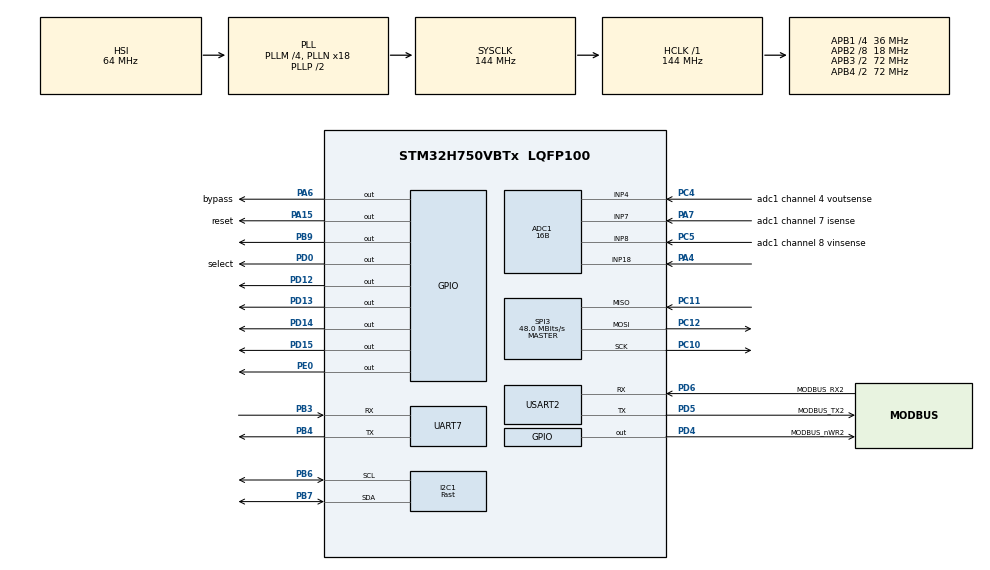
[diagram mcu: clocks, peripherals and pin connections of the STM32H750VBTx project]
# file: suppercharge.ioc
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ADC1.Channel-5\#ChannelRegularConversion=ADC_CHANNEL_7
ADC1.Channel-6\#ChannelRegularConversion=ADC_CHANNEL_4
ADC1.Channel-7\#ChannelRegularConversion=ADC_CHANNEL_8
ADC1.Channel-8\#ChannelRegularConversion=ADC_CHANNEL_18
ADC1.ConversionDataManagement=ADC_CONVERSIONDATA_DMA_ONESHOT
ADC1.DiscontinuousConvMode=DISABLE
ADC1.EOCSelection=ADC_EOC_SEQ_CONV
ADC1.NbrOfConversion=4
ADC1.NbrOfConversionFlag=1
ADC1.OffsetNumber-5\#ChannelRegularConversion=ADC_OFFSET_NONE
ADC1.OffsetNumber-6\#ChannelRegularConversion=ADC_OFFSET_NONE
ADC1.OffsetNumber-7\#ChannelRegularConversion=ADC_OFFSET_NONE
ADC1.OffsetNumber-8\#ChannelRegularConversion=ADC_OFFSET_NONE
ADC1.OffsetSignedSaturation-5\#ChannelRegularConversion=DISABLE
ADC1.OffsetSignedSaturation-8\#ChannelRegularConversion=DISABLE
ADC1.Rank-5\#ChannelRegularConversion=1
ADC1.Rank-6\#ChannelRegularConversion=2
ADC1.Rank-7\#ChannelRegularConversion=3
ADC1.Rank-8\#ChannelRegularConversion=4
ADC1.Resolution=ADC_RESOLUTION_16B
ADC1.SamplingTime-5\#ChannelRegularConversion=ADC_SAMPLETIME_1CYCLE_5
ADC1.SamplingTime-6\#ChannelRegularConversion=ADC_SAMPLETIME_1CYCLE_5
ADC1.SamplingTime-7\#ChannelRegularConversion=ADC_SAMPLETIME_1CYCLE_5
ADC1.SamplingTime-8\#ChannelRegularConversion=ADC_SAMPLETIME_1CYCLE_5
ADC1.master=1
CORTEX_M7.CPU_DCache=Disabled
CORTEX_M7.CPU_ICache=Disabled
CORTEX_M7.default_mode_Activation=1
Dma.ADC1.0.Direction=DMA_PERIPH_TO_MEMORY
Dma.ADC1.0.EventEnable=DISABLE
Dma.ADC1.0.FIFOMode=DMA_FIFOMODE_DISABLE
Dma.ADC1.0.Instance=DMA1_Stream0
Dma.ADC1.0.MemDataAlignment=DMA_MDATAALIGN_HALFWORD
Dma.ADC1.0.MemInc=DMA_MINC_ENABLE
Dma.ADC1.0.Mode=DMA_NORMAL
Dma.ADC1.0.PeriphDataAlignment=DMA_PDATAALIGN_HALFWORD
Dma.ADC1.0.PeriphInc=DMA_PINC_DISABLE
Dma.ADC1.0.Polarity=HAL_DMAMUX_REQ_GEN_RISING
Dma.ADC1.0.Priority=DMA_PRIORITY_LOW
Dma.ADC1.0.RequestNumber=1
Dma.ADC1.0.SignalID=NONE
Dma.ADC1.0.SyncEnable=DISABLE
Dma.ADC1.0.SyncPolarity=HAL_DMAMUX_SYNC_NO_EVENT
Dma.ADC1.0.SyncRequestNumber=1
Dma.ADC1.0.SyncSignalID=NONE
Dma.I2C1_RX.2.Direction=DMA_PERIPH_TO_MEMORY
Dma.I2C1_RX.2.EventEnable=DISABLE
Dma.I2C1_RX.2.FIFOMode=DMA_FIFOMODE_DISABLE
Dma.I2C1_RX.2.Instance=DMA1_Stream2
Dma.I2C1_RX.2.MemDataAlignment=DMA_MDATAALIGN_BYTE
Dma.I2C1_RX.2.MemInc=DMA_MINC_ENABLE
Dma.I2C1_RX.2.Mode=DMA_NORMAL
Dma.I2C1_RX.2.PeriphDataAlignment=DMA_PDATAALIGN_BYTE
Dma.I2C1_RX.2.PeriphInc=DMA_PINC_DISABLE
Dma.I2C1_RX.2.Polarity=HAL_DMAMUX_REQ_GEN_RISING
Dma.I2C1_RX.2.Priority=DMA_PRIORITY_LOW
Dma.I2C1_RX.2.RequestNumber=1
Dma.I2C1_RX.2.SignalID=NONE
Dma.I2C1_RX.2.SyncEnable=DISABLE
Dma.I2C1_RX.2.SyncPolarity=HAL_DMAMUX_SYNC_NO_EVENT
Dma.I2C1_RX.2.SyncRequestNumber=1
Dma.I2C1_RX.2.SyncSignalID=NONE
Dma.I2C1_TX.1.Direction=DMA_MEMORY_TO_PERIPH
Dma.I2C1_TX.1.EventEnable=DISABLE
Dma.I2C1_TX.1.FIFOMode=DMA_FIFOMODE_DISABLE
Dma.I2C1_TX.1.Instance=DMA1_Stream1
Dma.I2C1_TX.1.MemDataAlignment=DMA_MDATAALIGN_BYTE
Dma.I2C1_TX.1.MemInc=DMA_MINC_ENABLE
Dma.I2C1_TX.1.Mode=DMA_NORMAL
Dma.I2C1_TX.1.PeriphDataAlignment=DMA_PDATAALIGN_BYTE
Dma.I2C1_TX.1.PeriphInc=DMA_PINC_DISABLE
Dma.I2C1_TX.1.Polarity=HAL_DMAMUX_REQ_GEN_RISING
Dma.I2C1_TX.1.Priority=DMA_PRIORITY_LOW
Dma.I2C1_TX.1.RequestNumber=1
Dma.I2C1_TX.1.SignalID=NONE
Dma.I2C1_TX.1.SyncEnable=DISABLE
Dma.I2C1_TX.1.SyncPolarity=HAL_DMAMUX_SYNC_NO_EVENT
Dma.I2C1_TX.1.SyncRequestNumber=1
Dma.I2C1_TX.1.SyncSignalID=NONE
Dma.Request0=ADC1
Dma.Request1=I2C1_TX
Dma.Request2=I2C1_RX
I2C1.I2C_Speed_Mode=I2C_Fast
I2C1.Speed=100
I2C1.Timing=0x00305FFF
Mcu.Family=STM32H7
Mcu.Name=STM32H750VBTx
Mcu.Package=LQFP100
NVIC.DMA1_Stream0_IRQn=true\:0\:0\:false\:false\:true\:false\:true\:true
NVIC.DMA1_Stream1_IRQn=true\:0\:0\:false\:false\:true\:false\:true\:true
NVIC.DMA1_Stream2_IRQn=true\:0\:0\:false\:false\:true\:false\:true\:true
NVIC.I2C1_ER_IRQn=true\:0\:0\:false\:false\:true\:true\:true\:true
NVIC.I2C1_EV_IRQn=true\:0\:0\:false\:false\:true\:true\:true\:true
NVIC.PriorityGroup=NVIC_PRIORITYGROUP_4
NVIC.SPI3_IRQn=true\:0\:0\:false\:false\:true\:true\:true\:true
NVIC.TIM2_IRQn=true\:0\:0\:false\:false\:true\:true\:true\:true
NVIC.TIM4_IRQn=true\:0\:0\:false\:false\:true\:true\:true\:true
NVIC.USART2_IRQn=true\:0\:0\:false\:false\:true\:true\:true\:true
PA11.Signal=FDCAN1_RX
PA12.Signal=FDCAN1_TX
PA15\ (JTDI).GPIO_Label=reset
PA15\ (JTDI).Signal=GPIO_Output
PA4.Signal=ADCx_INP18
PA6.GPIO_Label=bypass
PA6.GPIO_ModeDefaultOutputPP=GPIO_MODE_OUTPUT_PP
PA6.GPIO_PuPd=GPIO_NOPULL
PA6.Signal=GPIO_Output
PA7.GPIO_Label=adc1 channel 7 isense
PA7.Signal=ADCx_INP7
PB3\ (JTDO/TRACESWO).Mode=Asynchronous
PB3\ (JTDO/TRACESWO).Signal=UART7_RX
PB4\ (NJTRST).Mode=Asynchronous
PB4\ (NJTRST).Signal=UART7_TX
PB6.GPIO_Pu=GPIO_PULLUP
PB6.Mode=I2C
PB6.Signal=I2C1_SCL
PB7.GPIO_Pu=GPIO_PULLUP
PB7.Mode=I2C
PB7.Signal=I2C1_SDA
PB9.Signal=GPIO_Output
PC10.Mode=Full_Duplex_Master
PC10.Signal=SPI3_SCK
PC11.Mode=Full_Duplex_Master
PC11.Signal=SPI3_MISO
PC12.Mode=Full_Duplex_Master
PC12.Signal=SPI3_MOSI
PC14-OSC32_IN\ (OSC32_IN).Mode=LSE-External-Oscillator
PC14-OSC32_IN\ (OSC32_IN).Signal=RCC_OSC32_IN
PC15-OSC32_OUT\ (OSC32_OUT).Mode=LSE-External-Oscillator
PC15-OSC32_OUT\ (OSC32_OUT).Signal=RCC_OSC32_OUT
PC4.GPIO_Label=adc1 channel 4 voutsense
PC4.Signal=ADCx_INP4
PC5.GPIO_Label=adc1 channel 8 vinsense
PC5.Signal=ADCx_INP8
PD0.GPIO_Label=select
PD0.Signal=GPIO_Output
PD12.Signal=GPIO_Output
PD13.Signal=GPIO_Output
PD14.Signal=GPIO_Output
PD15.Signal=GPIO_Output
PD4.GPIO_Label=MODBUS_nWR2
PD4.Signal=GPIO_Output
PD5.GPIO_Label=MODBUS_TX2
PD5.Mode=Asynchronous
PD5.Signal=USART2_TX
PD6.GPIO_Label=MODBUS_RX2
PD6.Mode=Asynchronous
PD6.Signal=USART2_RX
PE0.Signal=GPIO_Output
PH0-OSC_IN\ (PH0).Mode=HSE-External-Oscillator
PH0-OSC_IN\ (PH0).Signal=RCC_OSC_IN
PH1-OSC_OUT\ (PH1).Mode=HSE-External-Oscillator
PH1-OSC_OUT\ (PH1).Signal=RCC_OSC_OUT
ProjectManager.HeapSize=0x200
ProjectManager.StackSize=0x400
ProjectManager.TargetToolchain=STM32CubeIDE
RCC.ADCFreq_Value=80000000
RCC.APB1Freq_Value=36000000
RCC.APB2Freq_Value=18000000
RCC.APB3Freq_Value=72000000
RCC.APB4Freq_Value=72000000
RCC.CortexFreq_Value=144000000
RCC.D1PPRE=RCC_APB3_DIV2
RCC.D2PPRE1=RCC_APB1_DIV4
RCC.D2PPRE2=RCC_APB2_DIV8
RCC.D3PPRE=RCC_APB4_DIV2
RCC.DIVM1=4
RCC.DIVM2=4
RCC.DIVN1=18
RCC.DIVN2=10
RCC.DIVQ1=3
RCC.HCLKFreq_Value=144000000
RCC.HSE_VALUE=8000000
RCC.PLL2FRACN=0
RCC.PLL3FRACN=0
RCC.PLLFRACN=0
RCC.SYSCLKFreq_VALUE=144000000
RCC.SYSCLKSource=RCC_SYSCLKSOURCE_PLLCLK
RCC.USBFreq_Value=96000000
SH.ADCx_INP18.0=ADC1_INP18,IN18-Single-Ended
SH.ADCx_INP4.0=ADC1_INP4,IN4-Single-Ended
SH.ADCx_INP7.0=ADC1_INP7,IN7-Single-Ended
SH.ADCx_INP8.0=ADC1_INP8,IN8-Single-Ended
SPI3.CalculateBaudRate=48.0 MBits/s
SPI3.Direction=SPI_DIRECTION_2LINES
SPI3.Mode=SPI_MODE_MASTER
SPI3.VirtualType=VM_MASTER
TIM1.CounterMode=TIM_COUNTERMODE_UP
TIM1.Period=65535
TIM1.Prescaler=1-1
TIM2.Period=1000-1
TIM2.Prescaler=7200-1
TIM4.Period=179-1
TIM4.Prescaler=1-1
USART2.VirtualMode-Asynchronous=VM_ASYNC
VP_MEMORYMAP_VS_MEMORYMAP.Mode=CurAppReg
VP_TIM1_VS_ClockSourceINT.Mode=Internal
VP_TIM2_VS_ClockSourceINT.Mode=Internal
VP_TIM4_VS_ClockSourceINT.Mode=Internal
board=custom

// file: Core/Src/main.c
/* USER CODE BEGIN Header */
/**
  ******************************************************************************
  * @file           : main.c
  * @brief          : Main program body
  ******************************************************************************
  * @attention
  *
  * Copyright (c) 2025 STMicroelectronics.
  * All rights reserved.
  *
  * This software is licensed under terms that can be found in the LICENSE file
  * in the root directory of this software component.
  * If no LICENSE file comes with this software, it is provided AS-IS.
  *
  ******************************************************************************
  */
/* USER CODE END Header */
#include "main.h"

/* USER CODE BEGIN Includes */
//#include "modbus.h"
//#include "modbus_crc.h"
//#include "socket.h"
//#include "w5500.h"
//#include "wizchip_conf.h"
//#include "at24c08c.h"
//#include "app.h"
#include"timmer.h"
#include "adc.h"
#include "winform.h"
#include "staring.h"
#include "bypass.h"
#include "at24c08c.h"
uint16_t adc_value[4];
double isense,voutsense,vinsense,vcbsense;
uint8_t page_of_eeprom_to_write_isense = 0;
uint8_t data_write_test_eeprom = 0;
uint8_t data_read_test_eeprom;
uint8_t page_read_test_eeprom = 0;
uint8_t page_write_test_eeprom = 0;
/* USER CODE END Includes */

ADC_HandleTypeDef hadc1;
DMA_HandleTypeDef hdma_adc1;

I2C_HandleTypeDef hi2c1;
DMA_HandleTypeDef hdma_i2c1_tx;
DMA_HandleTypeDef hdma_i2c1_rx;

SPI_HandleTypeDef hspi3;

TIM_HandleTypeDef htim1;
TIM_HandleTypeDef htim2;
TIM_HandleTypeDef htim4;

UART_HandleTypeDef huart7;
UART_HandleTypeDef huart2;

void SystemClock_Config(void);
static void MPU_Config(void);
static void MX_GPIO_Init(void);
static void MX_DMA_Init(void);
static void MX_TIM4_Init(void);
static void MX_USART2_UART_Init(void);
static void MX_I2C1_Init(void);
static void MX_SPI3_Init(void);
static void MX_ADC1_Init(void);
static void MX_TIM1_Init(void);
static void MX_UART7_Init(void);
static void MX_TIM2_Init(void);

/* USER CODE BEGIN 0 */
//	void CS_Select(void)   { HAL_GPIO_WritePin(GPIOD, GPIO_PIN_0, GPIO_PIN_RESET); }
//	void CS_Deselect(void) { HAL_GPIO_WritePin(GPIOA, GPIO_PIN_15, GPIO_PIN_SET); }
//	// SPI read/write functions
//	uint8_t SPI_ReadByte() {
//	    uint8_t data;
//	    HAL_SPI_Receive(&hspi3, &data, 1, 1000);
//	    return data;
//	}
//
//	void SPI_WriteByte(uint8_t data) {
//	    HAL_SPI_Transmit(&hspi3, &data, 1, 1000);
//	}
//
//	#define SOCKET_NUM 0   // Use socket 0
//	#define PC_PORT    5656 // PC server port
//	uint8_t pc_ip[4] = {192, 168, 1, 5}; // PC's IP
//
//
//	void reset()
//	{
//	  HAL_GPIO_WritePin(GPIOA, GPIO_PIN_4, GPIO_PIN_RESET);
//	  HAL_Delay(10); // Reset pulse width > 2us
//	  HAL_GPIO_WritePin(GPIOA, GPIO_PIN_4, GPIO_PIN_SET);
//	  HAL_Delay(100); // Wait for W5500 to stabilize
//	}
/* USER CODE END 0 */

int main(void)
{

  /* USER CODE BEGIN 1 */
//	uint8_t data_write = 0xAB;
  /* USER CODE END 1 */

  /* MPU Configuration--------------------------------------------------------*/
  MPU_Config();

  /* MCU Configuration--------------------------------------------------------*/

  /* Reset of all peripherals, Initializes the Flash interface and the Systick. */
  HAL_Init();

  /* USER CODE BEGIN Init */
//   app_init();

  /* USER CODE END Init */

  /* Configure the system clock */
  SystemClock_Config();

  /* Initialize all configured peripherals */
  MX_GPIO_Init();
  MX_DMA_Init();
  MX_TIM4_Init();
  MX_USART2_UART_Init();
  MX_I2C1_Init();
  MX_SPI3_Init();
  MX_ADC1_Init();
  MX_TIM1_Init();
  MX_UART7_Init();
  MX_TIM2_Init();
  Control_Init();
  /* USER CODE BEGIN 2 */
//TIM4->CCR4 = 20;
//HAL_TIM_PWM_Start(&htim4, TIM_CHANNEL_4);
//TIM4->CCR3 = 80;
//HAL_TIM_PWM_Start(&htim4, TIM_CHANNEL_3);
//  HAL_TIM_Base_Start(&htim1);
//  HAL_GPIO_TogglePin(GPIOE, GPIO_PIN_0);
//  delay_1us();
//HAL_GPIO_TogglePin(GPIOE, GPIO_PIN_0);
//HAL_GPIO_WritePin(GPIOE, GPIO_PIN_0,1);
//  modbus_request_data(1,0x40000,3);
//HAL_GPIO_WritePin(GPIOD, GPIO_PIN_14,1);
//HAL_GPIO_WritePin(GPIOD, GPIO_PIN_13,1);
//HAL_GPIO_WritePin(GPIOD, GPIO_PIN_15,0);
//HAL_GPIO_WritePin(GPIOD, GPIO_PIN_12,0);
//  HAL_GPIO_WritePin(GPIOD, GPIO_PIN_14,1);
//  HAL_GPIO_WritePin(GPIOD, GPIO_PIN_13,1);
//  HAL_GPIO_WritePin(GPIOD, GPIO_PIN_15,1);
//  HAL_GPIO_WritePin(GPIOD, GPIO_PIN_12,1);

//mosfet(0.95);

//adc_get_value();
//HAL_GPIO_TogglePin(GPIOE, GPIO_PIN_0);
//HAL_GPIO_TogglePin(GPIOB, GPIO_PIN_9);
//HAL_Delay(1000);
//HAL_GPIO_WritePin(GPIOE, GPIO_PIN_0, 1);
//HAL_GPIO_WritePin(GPIOB, GPIO_PIN_9, 1);

//adc_get_value();
//double V_CB = vcbsense;
//double V_Bat = vinsense;
//double Vref = 24;  // Set your reference voltage
//double Ib = isense;
//
//// Control variables
//double D, uk_V, uk_Ib, I_SPb, Count, bf1, bf2, bf3;
//
//// Update control system
//Control_Update(0, 0, 24, 0, 0, &D, 0, &uk_V, &uk_Ib, 0, 0, 0, 0, 0, 0, 0);
//
// //Update PWM duty cycle
//mosfet(0.95);
//
// //Add delay or wait for timer interrupt
//delay_ns(500);  // Adjust based on your control frequency

//adc_get_value();
//HAL_GPIO_TogglePin(GPIOE, GPIO_PIN_0);
//HAL_GPIO_TogglePin(GPIOB, GPIO_PIN_9);
//HAL_Delay(1000);
//  mosfet(0.95);
//  enable_bypass();

  double V_CB;
  double V_Bat;
  double Vref;
  double Ib;
  double D = 0;
  		double uk_V, uk_Ib, I_SPb, Count, bf1, bf2, bf3;
  		HAL_TIM_Base_Start_IT(&htim2);
  /* USER CODE END 2 */

  /* Infinite loop */
  while (1)
  {
//	    	  HAL_GPIO_WritePin(GPIOB, GPIO_PIN_9,1);
	    	  adc_get_value();
	    	   V_CB = voutsense;
	    	   V_Bat = vinsense;
	    	  Vref = 24;  // Set your reference voltage
	    	   Ib = isense;

	    	  // Control variables

	    	  // Update control system
	    	  Control_Update(V_CB, V_Bat, Vref, 0, 0, &D, 0, &uk_V, &uk_Ib, 0, 0, 0, 0, 0, 0, 0);

	    	   //Update PWM duty cycle
	    	  mosfet(D);

	    	   //Add delay or wait for timer interrupt
	    	  delay_ns(500);  // Adjust based on your control frequency

//	  	  data_read_test_eeprom = EEPROM_ReadByte(page_read_test_eeprom, 0);
//	  	  send_data_to_winform(data_read_test_eeprom, 0, 0, 0);
//	  	  page_read_test_eeprom++;
//	  	  HAL_Delay(1000);
  }
}

void SystemClock_Config(void)
{
  RCC_OscInitTypeDef RCC_OscInitStruct = {0};
  RCC_ClkInitTypeDef RCC_ClkInitStruct = {0};

  /** Supply configuration update enable
  */
  HAL_PWREx_ConfigSupply(PWR_LDO_SUPPLY);

  /** Configure the main internal regulator output voltage
  */
  __HAL_PWR_VOLTAGESCALING_CONFIG(PWR_REGULATOR_VOLTAGE_SCALE3);

  while(!__HAL_PWR_GET_FLAG(PWR_FLAG_VOSRDY)) {}

  /** Initializes the RCC Oscillators according to the specified parameters
  * in the RCC_OscInitTypeDef structure.
  */
  RCC_OscInitStruct.OscillatorType = RCC_OSCILLATORTYPE_HSI;
  RCC_OscInitStruct.HSIState = RCC_HSI_DIV1;
  RCC_OscInitStruct.HSICalibrationValue = RCC_HSICALIBRATION_DEFAULT;
  RCC_OscInitStruct.PLL.PLLState = RCC_PLL_ON;
  RCC_OscInitStruct.PLL.PLLSource = RCC_PLLSOURCE_HSI;
  RCC_OscInitStruct.PLL.PLLM = 4;
  RCC_OscInitStruct.PLL.PLLN = 18;
  RCC_OscInitStruct.PLL.PLLP = 2;
  RCC_OscInitStruct.PLL.PLLQ = 3;
  RCC_OscInitStruct.PLL.PLLR = 2;
  RCC_OscInitStruct.PLL.PLLRGE = RCC_PLL1VCIRANGE_3;
  RCC_OscInitStruct.PLL.PLLVCOSEL = RCC_PLL1VCOWIDE;
  RCC_OscInitStruct.PLL.PLLFRACN = 0;
  if (HAL_RCC_OscConfig(&RCC_OscInitStruct) != HAL_OK)
  {
    Error_Handler();
  }

  /** Initializes the CPU, AHB and APB buses clocks
  */
  RCC_ClkInitStruct.ClockType = RCC_CLOCKTYPE_HCLK|RCC_CLOCKTYPE_SYSCLK
                              |RCC_CLOCKTYPE_PCLK1|RCC_CLOCKTYPE_PCLK2
                              |RCC_CLOCKTYPE_D3PCLK1|RCC_CLOCKTYPE_D1PCLK1;
  RCC_ClkInitStruct.SYSCLKSource = RCC_SYSCLKSOURCE_PLLCLK;
  RCC_ClkInitStruct.SYSCLKDivider = RCC_SYSCLK_DIV1;
  RCC_ClkInitStruct.AHBCLKDivider = RCC_HCLK_DIV1;
  RCC_ClkInitStruct.APB3CLKDivider = RCC_APB3_DIV2;
  RCC_ClkInitStruct.APB1CLKDivider = RCC_APB1_DIV4;
  RCC_ClkInitStruct.APB2CLKDivider = RCC_APB2_DIV8;
  RCC_ClkInitStruct.APB4CLKDivider = RCC_APB4_DIV2;

  if (HAL_RCC_ClockConfig(&RCC_ClkInitStruct, FLASH_LATENCY_3) != HAL_OK)
  {
    Error_Handler();
  }
}

static void MX_ADC1_Init(void)
{

  ADC_MultiModeTypeDef multimode = {0};
  ADC_ChannelConfTypeDef sConfig = {0};

  /** Common config
  */
  hadc1.Instance = ADC1;
  hadc1.Init.ScanConvMode = ADC_SCAN_ENABLE;
  hadc1.Init.EOCSelection = ADC_EOC_SEQ_CONV;
  hadc1.Init.LowPowerAutoWait = DISABLE;
  hadc1.Init.ContinuousConvMode = DISABLE;
  hadc1.Init.NbrOfConversion = 4;
  hadc1.Init.DiscontinuousConvMode = DISABLE;
  hadc1.Init.ExternalTrigConv = ADC_SOFTWARE_START;
  hadc1.Init.ExternalTrigConvEdge = ADC_EXTERNALTRIGCONVEDGE_NONE;
  hadc1.Init.ConversionDataManagement = ADC_CONVERSIONDATA_DMA_ONESHOT;
  hadc1.Init.Overrun = ADC_OVR_DATA_PRESERVED;
  hadc1.Init.LeftBitShift = ADC_LEFTBITSHIFT_NONE;
  hadc1.Init.OversamplingMode = DISABLE;
  hadc1.Init.Oversampling.Ratio = 1;
  if (HAL_ADC_Init(&hadc1) != HAL_OK)
  {
    Error_Handler();
  }
  hadc1.Init.ClockPrescaler = ADC_CLOCK_ASYNC_DIV2;
  hadc1.Init.Resolution = ADC_RESOLUTION_16B;
  if (HAL_ADC_Init(&hadc1) != HAL_OK)
  {
    Error_Handler();
  }

  /** Configure the ADC multi-mode
  */
  multimode.Mode = ADC_MODE_INDEPENDENT;
  if (HAL_ADCEx_MultiModeConfigChannel(&hadc1, &multimode) != HAL_OK)
  {
    Error_Handler();
  }

  /** Configure Regular Channel
  */
  sConfig.Channel = ADC_CHANNEL_7;
  sConfig.Rank = ADC_REGULAR_RANK_1;
  sConfig.SamplingTime = ADC_SAMPLETIME_1CYCLE_5;
  sConfig.SingleDiff = ADC_SINGLE_ENDED;
  sConfig.OffsetNumber = ADC_OFFSET_NONE;
  sConfig.Offset = 0;
  sConfig.OffsetSignedSaturation = DISABLE;
  if (HAL_ADC_ConfigChannel(&hadc1, &sConfig) != HAL_OK)
  {
    Error_Handler();
  }

  /** Configure Regular Channel
  */
  sConfig.Channel = ADC_CHANNEL_4;
  sConfig.Rank = ADC_REGULAR_RANK_2;
  if (HAL_ADC_ConfigChannel(&hadc1, &sConfig) != HAL_OK)
  {
    Error_Handler();
  }

  /** Configure Regular Channel
  */
  sConfig.Channel = ADC_CHANNEL_8;
  sConfig.Rank = ADC_REGULAR_RANK_3;
  if (HAL_ADC_ConfigChannel(&hadc1, &sConfig) != HAL_OK)
  {
    Error_Handler();
  }

  /** Configure Regular Channel
  */
  sConfig.Channel = ADC_CHANNEL_18;
  sConfig.Rank = ADC_REGULAR_RANK_4;
  if (HAL_ADC_ConfigChannel(&hadc1, &sConfig) != HAL_OK)
  {
    Error_Handler();
  }

}

static void MX_I2C1_Init(void)
{

  hi2c1.Instance = I2C1;
  hi2c1.Init.Timing = 0x00305FFF;
  hi2c1.Init.OwnAddress1 = 0;
  hi2c1.Init.AddressingMode = I2C_ADDRESSINGMODE_7BIT;
  hi2c1.Init.DualAddressMode = I2C_DUALADDRESS_DISABLE;
  hi2c1.Init.OwnAddress2 = 0;
  hi2c1.Init.OwnAddress2Masks = I2C_OA2_NOMASK;
  hi2c1.Init.GeneralCallMode = I2C_GENERALCALL_DISABLE;
  hi2c1.Init.NoStretchMode = I2C_NOSTRETCH_DISABLE;
  if (HAL_I2C_Init(&hi2c1) != HAL_OK)
  {
    Error_Handler();
  }

  /** Configure Analogue filter
  */
  if (HAL_I2CEx_ConfigAnalogFilter(&hi2c1, I2C_ANALOGFILTER_ENABLE) != HAL_OK)
  {
    Error_Handler();
  }

  /** Configure Digital filter
  */
  if (HAL_I2CEx_ConfigDigitalFilter(&hi2c1, 0) != HAL_OK)
  {
    Error_Handler();
  }

}

static void MX_SPI3_Init(void)
{

  /* SPI3 parameter configuration*/
  hspi3.Instance = SPI3;
  hspi3.Init.Mode = SPI_MODE_MASTER;
  hspi3.Init.Direction = SPI_DIRECTION_2LINES;
  hspi3.Init.DataSize = SPI_DATASIZE_4BIT;
  hspi3.Init.CLKPolarity = SPI_POLARITY_LOW;
  hspi3.Init.CLKPhase = SPI_PHASE_1EDGE;
  hspi3.Init.NSS = SPI_NSS_SOFT;
  hspi3.Init.BaudRatePrescaler = SPI_BAUDRATEPRESCALER_2;
  hspi3.Init.FirstBit = SPI_FIRSTBIT_MSB;
  hspi3.Init.TIMode = SPI_TIMODE_DISABLE;
  hspi3.Init.CRCCalculation = SPI_CRCCALCULATION_DISABLE;
  hspi3.Init.CRCPolynomial = 0x0;
  hspi3.Init.NSSPMode = SPI_NSS_PULSE_ENABLE;
  hspi3.Init.NSSPolarity = SPI_NSS_POLARITY_LOW;
  hspi3.Init.FifoThreshold = SPI_FIFO_THRESHOLD_01DATA;
  hspi3.Init.TxCRCInitializationPattern = SPI_CRC_INITIALIZATION_ALL_ZERO_PATTERN;
  hspi3.Init.RxCRCInitializationPattern = SPI_CRC_INITIALIZATION_ALL_ZERO_PATTERN;
  hspi3.Init.MasterSSIdleness = SPI_MASTER_SS_IDLENESS_00CYCLE;
  hspi3.Init.MasterInterDataIdleness = SPI_MASTER_INTERDATA_IDLENESS_00CYCLE;
  hspi3.Init.MasterReceiverAutoSusp = SPI_MASTER_RX_AUTOSUSP_DISABLE;
  hspi3.Init.MasterKeepIOState = SPI_MASTER_KEEP_IO_STATE_DISABLE;
  hspi3.Init.IOSwap = SPI_IO_SWAP_DISABLE;
  if (HAL_SPI_Init(&hspi3) != HAL_OK)
  {
    Error_Handler();
  }

}

static void MX_TIM1_Init(void)
{

  TIM_ClockConfigTypeDef sClockSourceConfig = {0};
  TIM_MasterConfigTypeDef sMasterConfig = {0};

  htim1.Instance = TIM1;
  htim1.Init.Prescaler = 1-1;
  htim1.Init.CounterMode = TIM_COUNTERMODE_UP;
  htim1.Init.Period = 65535;
  htim1.Init.ClockDivision = TIM_CLOCKDIVISION_DIV1;
  htim1.Init.RepetitionCounter = 0;
  htim1.Init.AutoReloadPreload = TIM_AUTORELOAD_PRELOAD_DISABLE;
  if (HAL_TIM_Base_Init(&htim1) != HAL_OK)
  {
    Error_Handler();
  }
  sClockSourceConfig.ClockSource = TIM_CLOCKSOURCE_INTERNAL;
  if (HAL_TIM_ConfigClockSource(&htim1, &sClockSourceConfig) != HAL_OK)
  {
    Error_Handler();
  }
  sMasterConfig.MasterOutputTrigger = TIM_TRGO_RESET;
  sMasterConfig.MasterOutputTrigger2 = TIM_TRGO2_RESET;
  sMasterConfig.MasterSlaveMode = TIM_MASTERSLAVEMODE_DISABLE;
  if (HAL_TIMEx_MasterConfigSynchronization(&htim1, &sMasterConfig) != HAL_OK)
  {
    Error_Handler();
  }

}

static void MX_TIM2_Init(void)
{

  TIM_ClockConfigTypeDef sClockSourceConfig = {0};
  TIM_MasterConfigTypeDef sMasterConfig = {0};

  htim2.Instance = TIM2;
  htim2.Init.Prescaler = 7200-1;
  htim2.Init.CounterMode = TIM_COUNTERMODE_UP;
  htim2.Init.Period = 1000-1;
  htim2.Init.ClockDivision = TIM_CLOCKDIVISION_DIV1;
  htim2.Init.AutoReloadPreload = TIM_AUTORELOAD_PRELOAD_DISABLE;
  if (HAL_TIM_Base_Init(&htim2) != HAL_OK)
  {
    Error_Handler();
  }
  sClockSourceConfig.ClockSource = TIM_CLOCKSOURCE_INTERNAL;
  if (HAL_TIM_ConfigClockSource(&htim2, &sClockSourceConfig) != HAL_OK)
  {
    Error_Handler();
  }
  sMasterConfig.MasterOutputTrigger = TIM_TRGO_RESET;
  sMasterConfig.MasterSlaveMode = TIM_MASTERSLAVEMODE_DISABLE;
  if (HAL_TIMEx_MasterConfigSynchronization(&htim2, &sMasterConfig) != HAL_OK)
  {
    Error_Handler();
  }

}

static void MX_TIM4_Init(void)
{

  TIM_ClockConfigTypeDef sClockSourceConfig = {0};
  TIM_MasterConfigTypeDef sMasterConfig = {0};

  htim4.Instance = TIM4;
  htim4.Init.Prescaler = 1-1;
  htim4.Init.CounterMode = TIM_COUNTERMODE_UP;
  htim4.Init.Period = 179-1;
  htim4.Init.ClockDivision = TIM_CLOCKDIVISION_DIV1;
  htim4.Init.AutoReloadPreload = TIM_AUTORELOAD_PRELOAD_DISABLE;
  if (HAL_TIM_Base_Init(&htim4) != HAL_OK)
  {
    Error_Handler();
  }
  sClockSourceConfig.ClockSource = TIM_CLOCKSOURCE_INTERNAL;
  if (HAL_TIM_ConfigClockSource(&htim4, &sClockSourceConfig) != HAL_OK)
  {
    Error_Handler();
  }
  sMasterConfig.MasterOutputTrigger = TIM_TRGO_RESET;
  sMasterConfig.MasterSlaveMode = TIM_MASTERSLAVEMODE_DISABLE;
  if (HAL_TIMEx_MasterConfigSynchronization(&htim4, &sMasterConfig) != HAL_OK)
  {
    Error_Handler();
  }

}

static void MX_UART7_Init(void)
{

  huart7.Instance = UART7;
  huart7.Init.BaudRate = 115200;
  huart7.Init.WordLength = UART_WORDLENGTH_8B;
  huart7.Init.StopBits = UART_STOPBITS_1;
  huart7.Init.Parity = UART_PARITY_NONE;
  huart7.Init.Mode = UART_MODE_TX_RX;
  huart7.Init.HwFlowCtl = UART_HWCONTROL_NONE;
  huart7.Init.OverSampling = UART_OVERSAMPLING_16;
  huart7.Init.OneBitSampling = UART_ONE_BIT_SAMPLE_DISABLE;
  huart7.Init.ClockPrescaler = UART_PRESCALER_DIV1;
  huart7.AdvancedInit.AdvFeatureInit = UART_ADVFEATURE_NO_INIT;
  if (HAL_UART_Init(&huart7) != HAL_OK)
  {
    Error_Handler();
  }
  if (HAL_UARTEx_SetTxFifoThreshold(&huart7, UART_TXFIFO_THRESHOLD_1_8) != HAL_OK)
  {
    Error_Handler();
  }
  if (HAL_UARTEx_SetRxFifoThreshold(&huart7, UART_RXFIFO_THRESHOLD_1_8) != HAL_OK)
  {
    Error_Handler();
  }
  if (HAL_UARTEx_DisableFifoMode(&huart7) != HAL_OK)
  {
    Error_Handler();
  }

}

static void MX_USART2_UART_Init(void)
{

  huart2.Instance = USART2;
  huart2.Init.BaudRate = 115200;
  huart2.Init.WordLength = UART_WORDLENGTH_8B;
  huart2.Init.StopBits = UART_STOPBITS_1;
  huart2.Init.Parity = UART_PARITY_NONE;
  huart2.Init.Mode = UART_MODE_TX_RX;
  huart2.Init.HwFlowCtl = UART_HWCONTROL_NONE;
  huart2.Init.OverSampling = UART_OVERSAMPLING_16;
  huart2.Init.OneBitSampling = UART_ONE_BIT_SAMPLE_DISABLE;
  huart2.Init.ClockPrescaler = UART_PRESCALER_DIV1;
  huart2.AdvancedInit.AdvFeatureInit = UART_ADVFEATURE_NO_INIT;
  if (HAL_UART_Init(&huart2) != HAL_OK)
  {
    Error_Handler();
  }
  if (HAL_UARTEx_SetTxFifoThreshold(&huart2, UART_TXFIFO_THRESHOLD_1_8) != HAL_OK)
  {
    Error_Handler();
  }
  if (HAL_UARTEx_SetRxFifoThreshold(&huart2, UART_RXFIFO_THRESHOLD_1_8) != HAL_OK)
  {
    Error_Handler();
  }
  if (HAL_UARTEx_DisableFifoMode(&huart2) != HAL_OK)
  {
    Error_Handler();
  }

}

static void MX_DMA_Init(void)
{

  /* DMA controller clock enable */
  __HAL_RCC_DMA1_CLK_ENABLE();

  /* DMA interrupt init */
  /* DMA1_Stream0_IRQn interrupt configuration */
  HAL_NVIC_SetPriority(DMA1_Stream0_IRQn, 0, 0);
  HAL_NVIC_EnableIRQ(DMA1_Stream0_IRQn);
  /* DMA1_Stream1_IRQn interrupt configuration */
  HAL_NVIC_SetPriority(DMA1_Stream1_IRQn, 0, 0);
  HAL_NVIC_EnableIRQ(DMA1_Stream1_IRQn);
  /* DMA1_Stream2_IRQn interrupt configuration */
  HAL_NVIC_SetPriority(DMA1_Stream2_IRQn, 0, 0);
  HAL_NVIC_EnableIRQ(DMA1_Stream2_IRQn);

}

static void MX_GPIO_Init(void)
{
  GPIO_InitTypeDef GPIO_InitStruct = {0};

  /* GPIO Ports Clock Enable */
  __HAL_RCC_GPIOC_CLK_ENABLE();
  __HAL_RCC_GPIOH_CLK_ENABLE();
  __HAL_RCC_GPIOA_CLK_ENABLE();
  __HAL_RCC_GPIOD_CLK_ENABLE();
  __HAL_RCC_GPIOB_CLK_ENABLE();
  __HAL_RCC_GPIOE_CLK_ENABLE();

  /*Configure GPIO pin Output Level */
  HAL_GPIO_WritePin(GPIOA, bypass_Pin|reset_Pin, GPIO_PIN_RESET);

  /*Configure GPIO pin Output Level */
  HAL_GPIO_WritePin(GPIOD, GPIO_PIN_12|GPIO_PIN_13|GPIO_PIN_14|GPIO_PIN_15
                          |select_Pin|MODBUS_nWR2_Pin, GPIO_PIN_RESET);

  /*Configure GPIO pin Output Level */
  HAL_GPIO_WritePin(GPIOB, GPIO_PIN_9, GPIO_PIN_RESET);

  /*Configure GPIO pin Output Level */
  HAL_GPIO_WritePin(GPIOE, GPIO_PIN_0, GPIO_PIN_RESET);

  /*Configure GPIO pins : bypass_Pin reset_Pin */
  GPIO_InitStruct.Pin = bypass_Pin|reset_Pin;
  GPIO_InitStruct.Mode = GPIO_MODE_OUTPUT_PP;
  GPIO_InitStruct.Pull = GPIO_NOPULL;
  GPIO_InitStruct.Speed = GPIO_SPEED_FREQ_LOW;
  HAL_GPIO_Init(GPIOA, &GPIO_InitStruct);

  /*Configure GPIO pins : PD12 PD13 PD14 PD15
                           select_Pin MODBUS_nWR2_Pin */
  GPIO_InitStruct.Pin = GPIO_PIN_12|GPIO_PIN_13|GPIO_PIN_14|GPIO_PIN_15
                          |select_Pin|MODBUS_nWR2_Pin;
  GPIO_InitStruct.Mode = GPIO_MODE_OUTPUT_PP;
  GPIO_InitStruct.Pull = GPIO_NOPULL;
  GPIO_InitStruct.Speed = GPIO_SPEED_FREQ_LOW;
  HAL_GPIO_Init(GPIOD, &GPIO_InitStruct);

  /*Configure GPIO pins : PA11 PA12 */
  GPIO_InitStruct.Pin = GPIO_PIN_11|GPIO_PIN_12;
  GPIO_InitStruct.Mode = GPIO_MODE_AF_PP;
  GPIO_InitStruct.Pull = GPIO_NOPULL;
  GPIO_InitStruct.Speed = GPIO_SPEED_FREQ_LOW;
  GPIO_InitStruct.Alternate = GPIO_AF9_FDCAN1;
  HAL_GPIO_Init(GPIOA, &GPIO_InitStruct);

  /*Configure GPIO pin : PB9 */
  GPIO_InitStruct.Pin = GPIO_PIN_9;
  GPIO_InitStruct.Mode = GPIO_MODE_OUTPUT_PP;
  GPIO_InitStruct.Pull = GPIO_NOPULL;
  GPIO_InitStruct.Speed = GPIO_SPEED_FREQ_LOW;
  HAL_GPIO_Init(GPIOB, &GPIO_InitStruct);

  /*Configure GPIO pin : PE0 */
  GPIO_InitStruct.Pin = GPIO_PIN_0;
  GPIO_InitStruct.Mode = GPIO_MODE_OUTPUT_PP;
  GPIO_InitStruct.Pull = GPIO_NOPULL;
  GPIO_InitStruct.Speed = GPIO_SPEED_FREQ_LOW;
  HAL_GPIO_Init(GPIOE, &GPIO_InitStruct);

}

 /* MPU Configuration */

void MPU_Config(void)
{
  MPU_Region_InitTypeDef MPU_InitStruct = {0};

  /* Disables the MPU */
  HAL_MPU_Disable();

  /** Initializes and configures the Region and the memory to be protected
  */
  MPU_InitStruct.Enable = MPU_REGION_ENABLE;
  MPU_InitStruct.Number = MPU_REGION_NUMBER0;
  MPU_InitStruct.BaseAddress = 0x0;
  MPU_InitStruct.Size = MPU_REGION_SIZE_4GB;
  MPU_InitStruct.SubRegionDisable = 0x87;
  MPU_InitStruct.TypeExtField = MPU_TEX_LEVEL0;
  MPU_InitStruct.AccessPermission = MPU_REGION_NO_ACCESS;
  MPU_InitStruct.DisableExec = MPU_INSTRUCTION_ACCESS_DISABLE;
  MPU_InitStruct.IsShareable = MPU_ACCESS_SHAREABLE;
  MPU_InitStruct.IsCacheable = MPU_ACCESS_NOT_CACHEABLE;
  MPU_InitStruct.IsBufferable = MPU_ACCESS_NOT_BUFFERABLE;

  HAL_MPU_ConfigRegion(&MPU_InitStruct);
  /* Enables the MPU */
  HAL_MPU_Enable(MPU_PRIVILEGED_DEFAULT);

}

void Error_Handler(void)
{
  __disable_irq();
  while (1)
  {
  }
}
